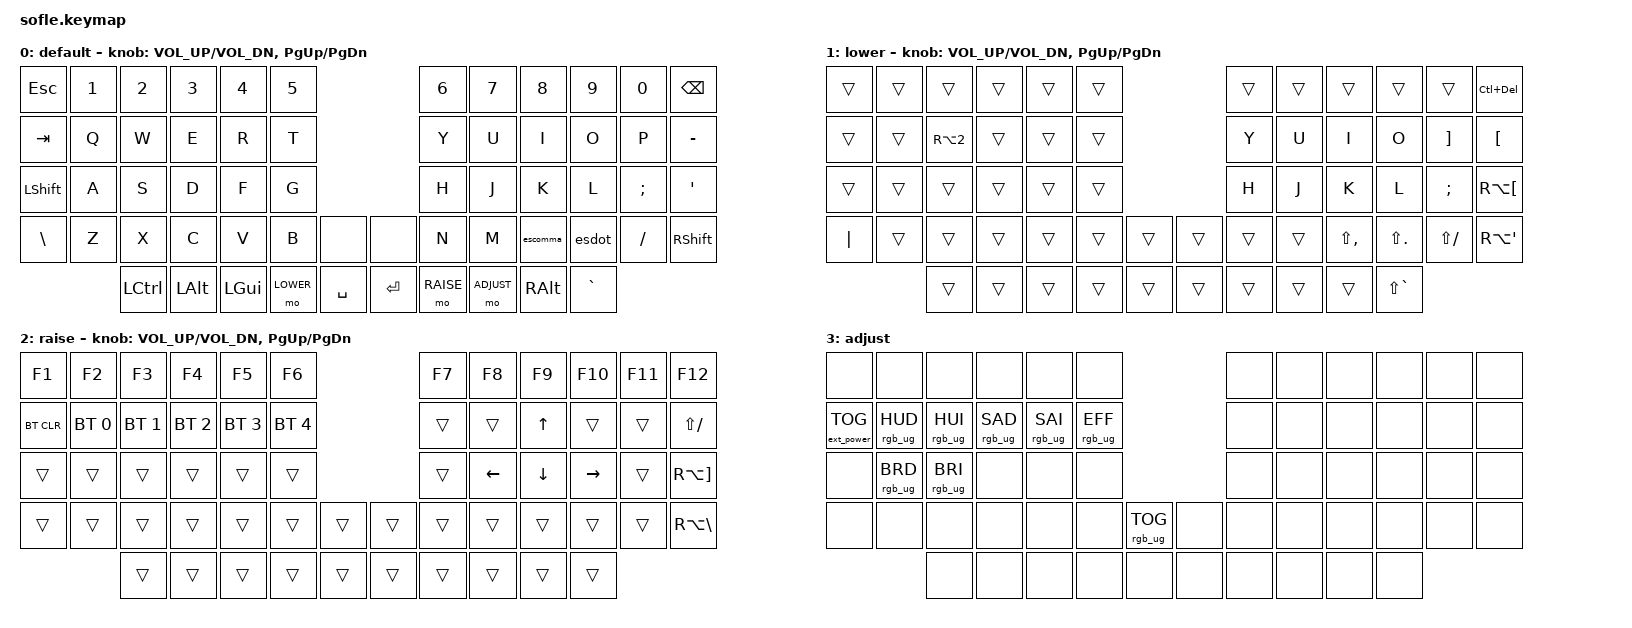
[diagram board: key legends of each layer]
/*
 * Copyright (c) 2020 The ZMK Contributors
 *
 * SPDX-License-Identifier: MIT
 */

#include <behaviors.dtsi>
#include <dt-bindings/zmk/keys.h>
#include <dt-bindings/zmk/bt.h>
#include <dt-bindings/zmk/rgb.h>
#include <dt-bindings/zmk/ext_power.h>

#define BASE 0
#define LOWER 1
#define RAISE 2
#define ADJUST 3


/ {

    chosen {
        zmk,matrix_transform = &default_transform;
        //zmk,matrix_transform = &five_column_transform;
    };

  behaviors {
    escomma: spanish_comma {
      compatible = "zmk,behavior-mod-morph";
      label = "SPANISH_COMMA";
      #binding-cells = <0>;
      bindings = <&kp COMMA>, <&kp LS(COMMA)>;
      mods = <(MOD_LSFT|MOD_RSFT)>;
    };
    esdot: spanish_dot {
      compatible = "zmk,behavior-mod-morph";
      label = "SPANISH_DOT";
      #binding-cells = <0>;
      bindings = <&kp DOT>, <&kp LS(DOT)>;
      mods = <(MOD_LSFT|MOD_RSFT)>;
    };
    esntilde: spanish_ntilde {
      compatible = "zmk,behavior-mod-morph";
      label = "SPANISH_NTILDE";
      #binding-cells = <0>;
      bindings = <&kp SEMI>, <&kp COLON>;
      mods = <(MOD_LSFT|MOD_RSFT)>;
    };
    // angle brackets: < GRAVE   > LS(GRAVE)
    // single quote:   ' MINUS   ? LS(MINUS)
    // double quote:   " EQUAL   ? LS(EQUAL)
  };

   // Activate ADJUST layer by pressing raise and lower
    conditional_layers {
        compatible = "zmk,conditional-layers";
        adjust_layer {
            if-layers = <LOWER RAISE>;
            then-layer = <ADJUST>;
        };
    };

    keymap {
        compatible = "zmk,keymap";

        default_layer {
            label = "default";
// ------------------------------------------------------------------------------------------------------------
// |  ESC  |  1  |  2   |  3   |  4   |  5   |                   |  6   |  7    |   8    |  9   |   0   | Backspace |
// |  TAB  |  Q  |  W   |  E   |  R   |  T   |                   |  Y   |  U    |   I    |  O   |   P   |     '     |
// | SHIFT |  A  |  S   |  D   |  F   |  G   |                   |  H   |  J    |   K    |  L   |   Ñ   |     ´     |
// |   \   |  Z  |  X   |  C   |  V   |  B   |        |  |       |  N   |  M    |   ,    |  .   |   -   |   SHIFT   |
//               | LCTRL| ALT  | LGUI | LOWER|  SPACE |  | ENTER | RAISE| GUI   | ADJUST |  <   |
            bindings = <
&kp ESC   &kp N1 &kp N2   &kp N3   &kp N4    &kp N5                             &kp N6    &kp N7     &kp N8     &kp N9     &kp N0     &kp BSPC
&kp TAB   &kp Q  &kp W    &kp E    &kp R     &kp T                              &kp Y     &kp U      &kp I      &kp O      &kp P      &kp MINUS
&kp LSHFT &kp A  &kp S    &kp D    &kp F     &kp G                              &kp H     &kp J      &kp K      &kp L      &kp SEMI   &kp SQT
&kp BSLH  &kp Z  &kp X    &kp C    &kp V     &kp B      &none        &none      &kp N     &kp M      &escomma   &esdot     &kp SLASH  &kp RSHFT  
                 &kp LCTRL &kp LALT &kp LGUI &mo LOWER  &kp SPACE    &kp RET    &mo RAISE &mo ADJUST &kp RALT   &kp GRAVE
            >;

            sensor-bindings = <&inc_dec_kp C_VOL_UP C_VOL_DN &inc_dec_kp PG_UP PG_DN>;
        };

        lower_layer {
            label = "lower";
// TODO: Some binds are waiting for shifted keycode support.
// ------------------------------------------------------------------------------------------------------------
// |       |  !  |  "  |  ·   |  $   |  %   |                   |  &   |  /    |   (   |   )  |   =   |  DEL  |
// |       |     |  @  |      |      |      |                   |      |       |       |      |   +   |   ?   |
// |       |     |     |      |      |      |                   |      |       |       |      |       |   [   |
// |   |   |     |     |      |      |      |        |  |       |      |       |   ;   |   :  |   _   |   {   |
//               |     |      |      |      |        |  |       |      |       |       |   >  |
            bindings = <
&trans     &trans    &trans     &trans     &trans   &trans                      &trans    &trans   &trans          &trans      &trans       &kp LC(DEL) 
&trans     &trans    &kp RA(N2) &trans     &trans   &trans                          &kp Y     &kp U    &kp I           &kp O       &kp RBKT     &kp LBKT
&trans     &trans    &trans     &trans     &trans   &trans                          &kp H     &kp J    &kp K           &kp L       &kp SEMI     &kp RA(LBKT)
&kp PIPE   &trans    &trans     &trans     &trans   &trans       &trans &trans      &trans    &trans   &kp LS(COMMA)   &kp LS(DOT) &kp LS(FSLH) &kp RA(SQT) 
                     &trans     &trans     &trans   &trans       &trans &trans      &trans    &trans   &trans          &kp LS(GRAVE)
            >;

            sensor-bindings = <&inc_dec_kp C_VOL_UP C_VOL_DN &inc_dec_kp PG_UP PG_DN>;
        };

        raise_layer {
            label = "raise";
// ------------------------------------------------------------------------------------------------------------
// |   F1  |    F2     |    F3      |     F4     |     F5     |     F6     |                  |  F7  |   F8  |     F9    |    F10   |  F11  |  F12  |
// | BTCLR |    BT1    |     BT2    |    BT3     |    BT4     |    BT5     |                  |      |       |      ^    |          |       |   ¿   |
// |       |           |            |            |            |            |                  |      |   <-  |       v   |    ->    |       |   ]   |
// |       |           |            |            |            |            |       |  |       |      |       |           |          |       |   }   |
//                     |            |            |            |            |       |  |       |      |       |           |          |
            bindings = <
&kp F1     &kp F2       &kp F3       &kp F4       &kp F5       &kp F6                          &kp F7  &kp F8    &kp F9    &kp F10   &kp F11   &kp F12
&bt BT_CLR &bt BT_SEL 0 &bt BT_SEL 1 &bt BT_SEL 2 &bt BT_SEL 3 &bt BT_SEL 4                    &trans  &trans    &kp UP    &trans    &trans    &kp LS(SLASH)
&trans     &trans       &trans       &trans       &trans       &trans                          &trans  &kp LEFT  &kp DOWN  &kp RIGHT &trans    &kp RA(RBKT)
&trans     &trans       &trans       &trans       &trans       &trans          &trans  &trans  &trans  &trans    &trans    &trans    &trans    &kp RA(BSLH)
                        &trans       &trans       &trans       &trans          &trans &trans   &trans  &trans    &trans    &trans
            >;

            sensor-bindings = <&inc_dec_kp C_VOL_UP C_VOL_DN &inc_dec_kp PG_UP PG_DN>;
        };

        adjust_layer {
// ----------------------------------------------------------------------------------------------------------------------------
// |        |         |         |         |         |         |                  |      |      |       |      |       |       |
// | EXTPWR | RGB_HUD | RGB_HUI | RGB_SAD | RGB_SAI | RGB_EFF |                  |      |      |       |      |       |       |
// |        | RGB_BRD | RGB_BRI |         |         |         |                  |      |      |       |      |       |       |
// |        |         |         |         |         |         | RGB_TOG | |      |      |      |       |      |       |       |
//                    |         |         |         |         |         | |      |      |      |       |      |
            label = "adjust";
            bindings = <
&none             &none           &none           &none           &none           &none                                   &none &none &none &none &none &none
&ext_power EP_TOG &rgb_ug RGB_HUD &rgb_ug RGB_HUI &rgb_ug RGB_SAD &rgb_ug RGB_SAI &rgb_ug RGB_EFF                         &none &none &none &none &none &none
&none             &rgb_ug RGB_BRD &rgb_ug RGB_BRI &none           &none           &none                                   &none &none &none &none &none &none
&none             &none           &none           &none           &none           &none            &rgb_ug RGB_TOG &none  &none &none &none &none &none &none
                                  &none           &none           &none           &none            &none           &none  &none &none &none &none
            >;
        };

    };
};
